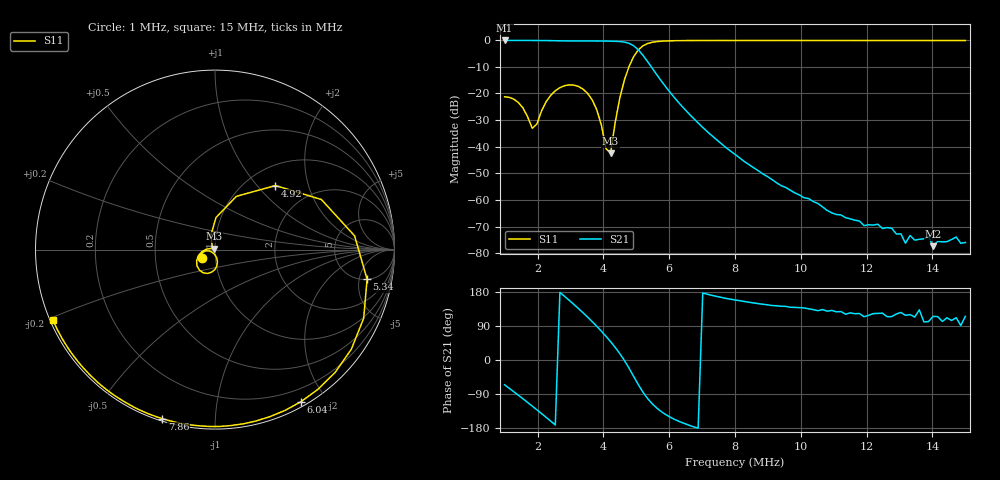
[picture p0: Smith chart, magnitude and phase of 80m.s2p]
# HZ S RI R 50
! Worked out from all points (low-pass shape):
!   101 points, 1 MHz to 15 MHz, reference 50 ohm
!   highest |S21| = -0.10 dB at 1 MHz (marker M1); lowest = -77.3 dB at 14.02 MHz (marker M2)
!   |S21| within 3 dB of the highest: start of sweep to 5.015 MHz
!   lowest |S11| = -42.4 dB at 4.22 MHz (marker M3), VSWR 1.02, Z = 49.4 + j0.433 ohm
!   |S11| at or under -10 dB: start of sweep to 4.777 MHz
!   S12 and S22 are empty: the file has one direction only
!   S11 on the Smith chart (normalised r, x): 1 MHz: 0.86, -0.08; 4.92 MHz: 1.34, +1.26; 5.34 MHz: 5.04, -6.53; 6.04 MHz: 0.05, -1.72; 7.86 MHz: 0.01, -0.74; 15 MHz: 0.01, -0.21
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1000000  -0.0735 -0.0459  0.4116 -0.8983  0 0  0 0
1420000  -0.066 -0.0134  -0.0549 -0.9858  0 0  0 0
1840000  -0.0178 -0.0133  -0.5192 -0.8395  0 0  0 0
2400000  0.0102 -0.0916  -0.9273 -0.3156  0 0  0 0
2820000  -0.0432 -0.1329  -0.9493 0.1994  0 0  0 0
3380000  -0.1025 -0.0642  -0.5526 0.7918  0 0  0 0
3800000  -0.0495 0.00157  0.017 0.9651  0 0  0 0
4080000  -0.00854 0.00345  0.4424 0.8534  0 0  0 0
4220000  -0.00618 0.00439  0.6357 0.7161  0 0  0 0
4640000  0.00552 0.1787  0.9206 -0.021  0 0  0 0
4920000  0.3368 0.3569  0.5749 -0.5374  0 0  0 0
5340000  0.8473 -0.165  -0.0776 -0.3921  0 0  0 0
5760000  0.6701 -0.6834  -0.124 -0.1191  0 0  0 0
6040000  0.48 -0.8467  -0.09 -0.0493  0 0  0 0
7860000  -0.2928 -0.9421  -0.00785 0.00277  0 0  0 0
8000000  -0.3266 -0.9309  -0.00668 0.00265  0 0  0 0
1.038e7  -0.6791 -0.7153  -0.000636 0.000684  0 0  0 0
1.276e7  -0.8301 -0.5308  -0.000123 0.000269  0 0  0 0
1.318e7  -0.8473 -0.5029  -7.24e-05 0.000137  0 0  0 0
1.388e7  -0.8719 -0.4582  -4.05e-05 0.000202  0 0  0 0
1.402e7  -0.8764 -0.4495  -5.81e-05 0.000123  0 0  0 0
1.5e7  -0.9031 -0.3924  -6.83e-05 0.000144  0 0  0 0
